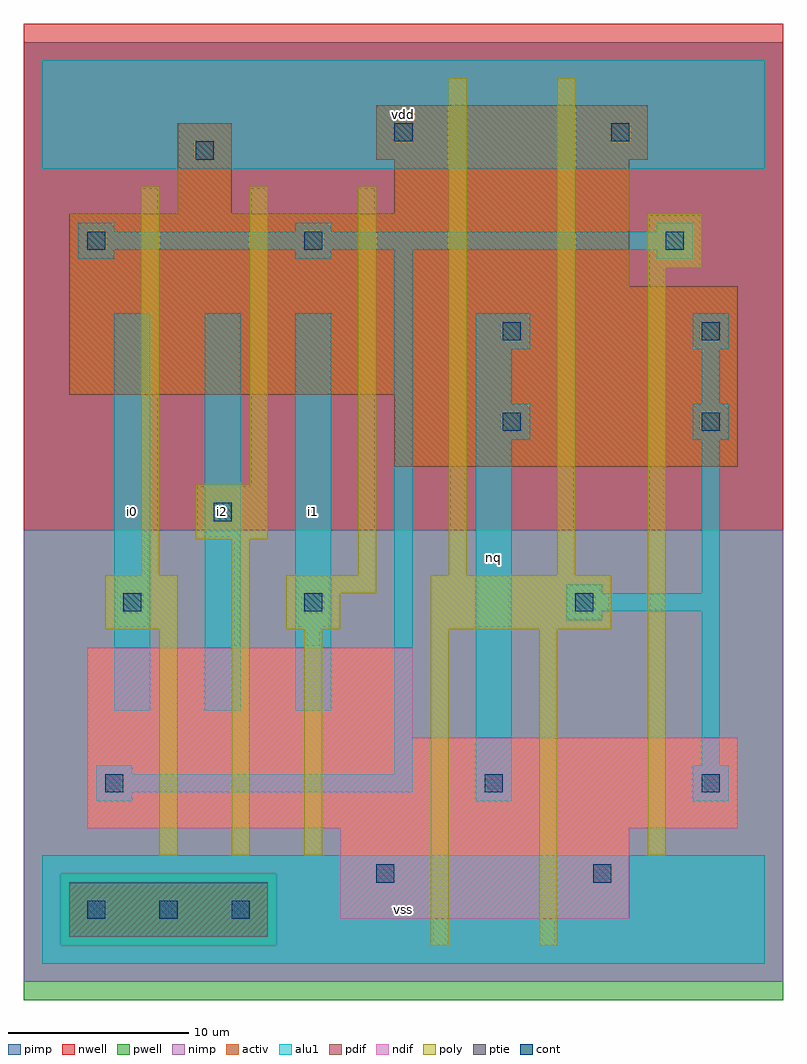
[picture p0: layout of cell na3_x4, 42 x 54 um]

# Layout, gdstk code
import gdstk
lib = gdstk.Library(unit=1e-6, precision=1e-09)
def R(c, l, rs):  # rectangles x0, y0, x1, y1
    for r in rs: c.add(gdstk.rectangle(r[:2], r[2:], *l))
def A(c, l, x, y, w, h, nx, ny, dx, dy):  # array of equal rectangles
    R(c, l, [(x+i*dx, y+j*dy, x+i*dx+w, y+j*dy+h) for i in range(nx) for j in range(ny)])
ndif = (3, 0)
pdif = (4, 0)
ptie = (6, 0)
cont = (25, 0)
pwell = (41, 0)
nwell = (42, 0)
activ = (43, 0)
pimp = (44, 0)
nimp = (45, 0)
poly = (46, 0)
alu1 = (49, 0)

na3_x4 = lib.new_cell('na3_x4')
R(na3_x4, ndif, [(16.5,2.5,32.5,7.5), (2.5,7.5,38.5,12.5), (2.5,12.5,20.5,17.5)])
R(na3_x4, pdif, [(19.5,27.5,38.5,31.5), (1.5,31.5,38.5,37.5), (1.5,37.5,32.5,41.5), (7.5,41.5,10.5,46.5), (19.5,41.5,32.5,44.5), (18.5,44.5,33.5,47.5)])
R(na3_x4, ptie, [(1.5,1.5,12.5,4.5)])
A(na3_x4, cont, 2.5, 2.5, 1, 1, 3, 1, 4, 0)
R(na3_x4, cont, [(18.5,4.5,19.5,5.5), (30.5,4.5,31.5,5.5), (3.5,9.5,4.5,10.5), (24.5,9.5,25.5,10.5), (36.5,9.5,37.5,10.5), (4.5,19.5,5.5,20.5), (14.5,19.5,15.5,20.5), (29.5,19.5,30.5,20.5), (9.5,24.5,10.5,25.5), (25.5,29.5,26.5,30.5), (36.5,29.5,37.5,30.5), (25.5,34.5,26.5,35.5), (36.5,34.5,37.5,35.5), (2.5,39.5,3.5,40.5), (14.5,39.5,15.5,40.5), (34.5,39.5,35.5,40.5), (8.5,44.5,9.5,45.5), (19.5,45.5,20.5,46.5), (31.5,45.5,32.5,46.5)])
R(na3_x4, pwell, [(-1,-2,41,24)])
R(na3_x4, nwell, [(-1,24,41,52)])
R(na3_x4, activ, [(1.5,1.5,12.5,4.5), (16.5,2.5,32.5,7.5), (2.5,7.5,38.5,12.5), (2.5,12.5,20.5,17.5), (19.5,27.5,38.5,31.5), (1.5,31.5,38.5,37.5), (1.5,37.5,32.5,41.5), (7.5,41.5,10.5,46.5), (19.5,41.5,32.5,44.5), (18.5,44.5,33.5,47.5)])
R(na3_x4, pimp, [(1,1,13,5), (-1,24,41,51)])
R(na3_x4, nimp, [(-1,-1,41,1), (-1,1,1,5), (13,1,41,5), (-1,5,41,24)])
R(na3_x4, poly, [(21.5,1,22.5,18.5), (27.5,1,28.5,18.5), (6.5,6,7.5,18.5), (10.5,6,11.5,23.5), (14.5,6,15.5,18.5), (33.5,6,34.5,38.5), (3.5,18.5,7.5,21.5), (13.5,18.5,16.5,20.5), (21.5,18.5,31.5,21.5), (13.5,20.5,18.5,21.5), (5.5,21.5,6.5,43), (17.5,21.5,18.5,43), (22.5,21.5,23.5,49), (28.5,21.5,29.5,49), (8.5,23.5,12.5,26.5), (11.5,26.5,12.5,43), (33.5,38.5,36.5,41.5)])
A(na3_x4, alu1, 4, 14, 2, 22, 3, 1, 5, 0)
R(na3_x4, alu1, [(0,0,40,6), (3,9,5,9.5), (24,9,26,29), (36,9,38,11), (3,9.5,20.5,10.5), (3,10.5,5,11), (19.5,10.5,20.5,39.5), (36.5,11,37.5,19.5), (29,19,31,19.5), (29,19.5,37.5,20.5), (29,20.5,31,21), (36.5,20.5,37.5,29), (24,29,27,31), (36,29,38,31), (24,31,26,34), (36.5,31,37.5,34), (24,34,27,36), (36,34,38,36), (2,39,4,39.5), (14,39,16,39.5), (34,39,36,39.5), (2,39.5,36,40.5), (2,40.5,4,41), (14,40.5,16,41), (34,40.5,36,41), (0,44,40,50)])
na3_x4.add(gdstk.Label('i0', (5,25), layer=49, texttype=0))
na3_x4.add(gdstk.Label('i1', (15,25), layer=49, texttype=0))
na3_x4.add(gdstk.Label('i2', (10,25), layer=49, texttype=0))
na3_x4.add(gdstk.Label('vss', (20,3), layer=49, texttype=0))
na3_x4.add(gdstk.Label('nq', (25,22.5), layer=49, texttype=0))
na3_x4.add(gdstk.Label('vdd', (20,47), layer=49, texttype=0))

lib.write_gds('na3_x4.gds')
